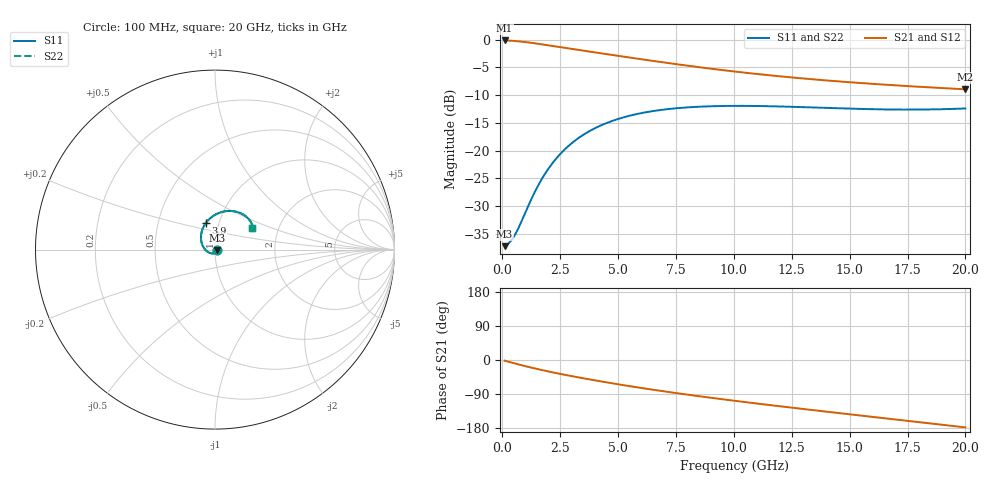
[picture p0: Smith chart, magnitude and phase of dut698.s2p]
! Touchstone file exported from HFSS 2024.1.0
!  File:  C:/UserFiles/LocalFiles/RDL_TSV_Batchsim/temp_RDL_TSV_698_1779820654.aedt
!  Generated:  02:52:06 AM May 27, 2026
!  Design:  RDL_TSV
!  Project:  temp_RDL_TSV_698_1779820654
!  Setup:  Setup1
!  Solution:  Sweep
! Variables:
!  dtsv = 11.15um
!  hbump = 3um
!  htsv = 99.96um
!  ldown = 561.95um
!  lrdl = 104.33um
!  p = 40
!  p1 = 45.31um
!  rhole = 10um
!  subl = 2103.17um
!  t = 450um
!  tdown = 3.3um
!  trdl = 4.32um
!  viad = 10um
!  wdown = 16.06um
!  wrdl = 19.65um
!  xbump = 18um
# GHz S MA R 50.000000
! Terminal data exported
! Port[1] = TM1_1_T1
! Port[2] = TM1_4_T1
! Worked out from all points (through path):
!   200 points, 100 MHz to 20 GHz, reference 50 ohm
!   highest |S21| = -0.12 dB at 100 MHz (marker M1); lowest = -8.9 dB at 20 GHz (marker M2)
!   group delay of S21, straight-line fit = 23.1 ps
!   lowest |S11| = -37.2 dB at 100 MHz (marker M3), VSWR 1.03, Z = 51.4 - j0.333 ohm
!   |S11| at or under -10 dB: start of sweep to end of sweep
!   |S22| runs from -37.2 to -11.9 dB; largest |S21 - S12| = 1.5e-14
!   S11 on the Smith chart (normalised r, x): 100 MHz: 1.03, -0.01; 3.9 GHz: 0.86, +0.26; 20 GHz: 1.47, +0.37
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0.1  0.01376 -13.6  0.9859 -1.7  0.9859 -1.7  0.01376 -13.6
! Gamma 0 0 0 0
! Port Impedance 50 0 50 0
0.3  0.01478 -41.9  0.9823 -5.1  0.9823 -5.1  0.01477 -41.9
0.6  0.01825 -84.5  0.9725 -10.0  0.9725 -10.0  0.01824 -84.5
1  0.02777 -130.6  0.9534 -16.3  0.9534 -16.3  0.02778 -130.7
1.4  0.04226 -162.6  0.9296 -22.2  0.9296 -22.2  0.04229 -162.6
1.7  0.05522 179.7  0.9102 -26.4  0.9102 -26.4  0.05526 179.6
2  0.06916 165.2  0.8906 -30.4  0.8906 -30.4  0.06923 165.2
2.3  0.08356 153.2  0.871 -34.2  0.871 -34.2  0.08365 153.1
2.7  0.1028 139.6  0.8456 -39.1  0.8456 -39.1  0.1029 139.5
3.1  0.1214 128.1  0.8211 -43.8  0.8211 -43.8  0.1215 128.1
3.5  0.139 118.3  0.7976 -48.3  0.7976 -48.3  0.1392 118.2
3.9  0.1554 109.6  0.7749 -52.6  0.7749 -52.6  0.1556 109.6
4.5  0.1773 98.4  0.7423 -59.0  0.7423 -59.0  0.1775 98.3
5.2  0.1987 87.3  0.7062 -66.1  0.7062 -66.1  0.199 87.3
6.8  0.2322 67.8  0.6319 -81.1  0.6319 -81.1  0.2324 67.8
8.4  0.2485 53.9  0.5693 -94.8  0.5693 -94.8  0.2488 54.0
10.1  0.2535 43.4  0.5152 -108.1  0.5152 -108.1  0.2537 43.5
11.7  0.2512 36.5  0.4746 -120.0  0.4746 -120.0  0.2514 36.6
13.4  0.2453 31.8  0.4401 -132.1  0.4401 -132.1  0.2455 31.9
15  0.2394 29.5  0.4141 -143.3  0.4141 -143.3  0.2395 29.6
16.7  0.2352 28.7  0.3915 -155.1  0.3915 -155.1  0.2353 28.8
20  0.2401 30.0  0.3575 -177.9  0.3575 -177.9  0.2404 30.2
